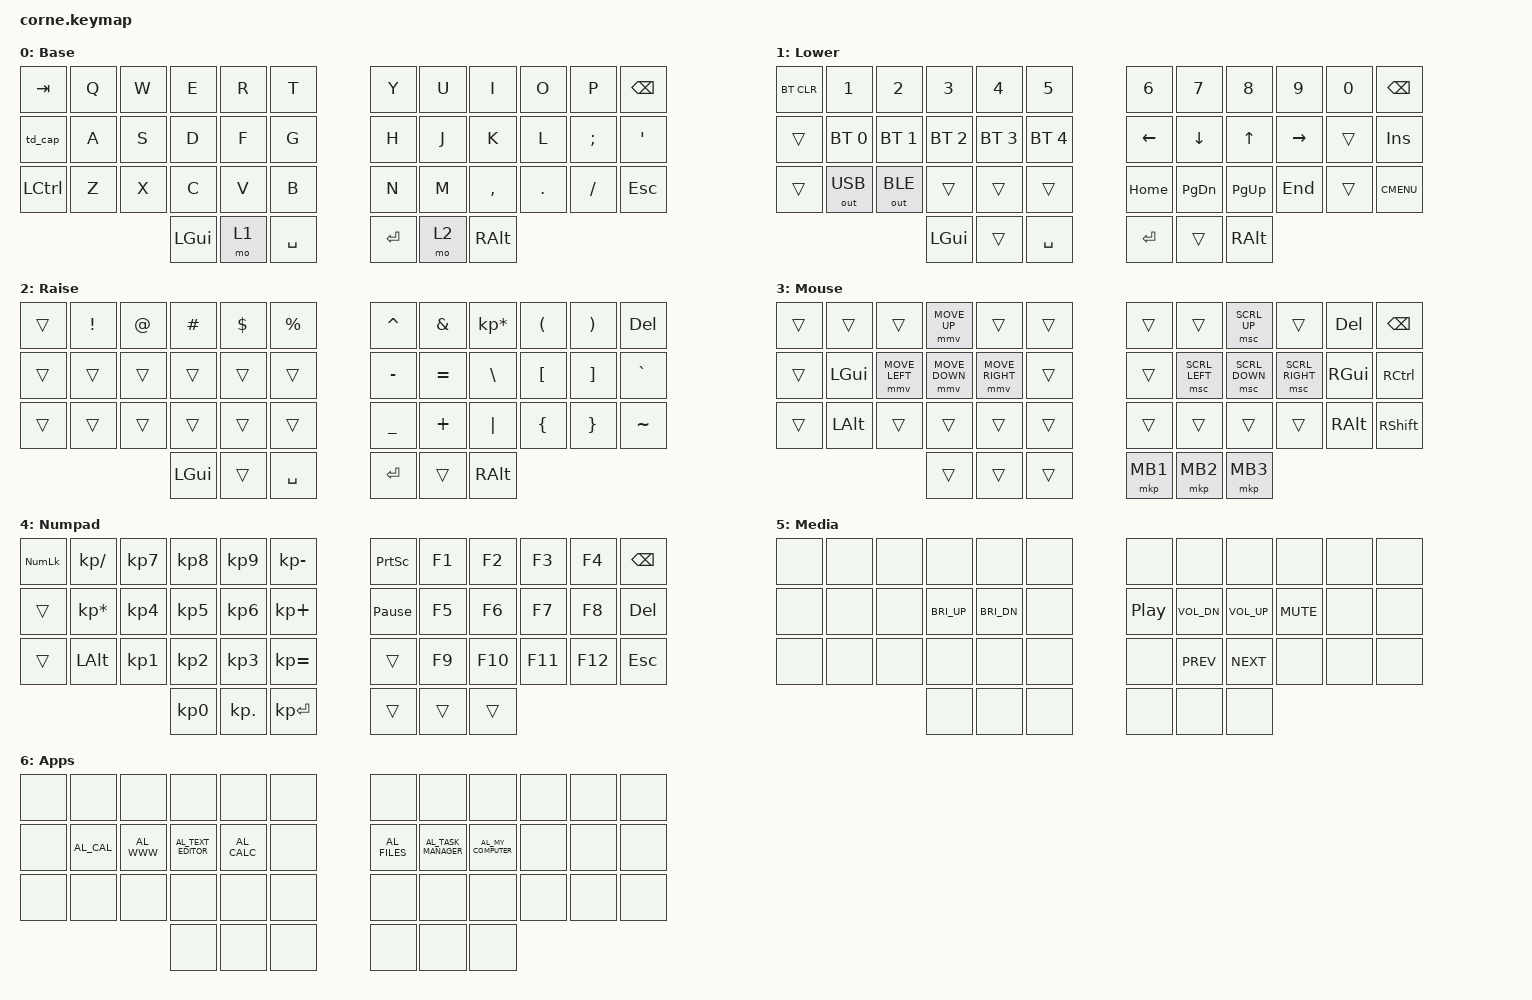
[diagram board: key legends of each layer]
/*
 * Copyright (c) 2020 The ZMK Contributors
 *
 * SPDX-License-Identifier: MIT
 */

#define ZMK_POINTING_DEFAULT_MOVE_VAL 1200
#define ZMK_POINTING_DEFAULT_SCRL_VAL 15

#include <behaviors.dtsi>
#include <dt-bindings/zmk/keys.h>
#include <dt-bindings/zmk/bt.h>
#include <dt-bindings/zmk/pointing.h>
#include <dt-bindings/zmk/outputs.h>

/ {
    
    behaviors {
        td_cap: tap_dance_caps {
            compatible = "zmk,behavior-tap-dance";
            #binding-cells = <0>;
            tapping-term-ms = <200>;
            bindings = <&kp LSHFT>, <&caps_word>, <&kp CAPS>;
        };
    };

    combos {
        compatible = "zmk,combos";

        combo_mouse_layer {
            timeout-ms = <50>;
            key-positions = <36 37>;
            bindings = <&mo 3>;
            slow-release;
        };

        combo_numpad_layer {
            timeout-ms = <50>;
            key-positions = <40 41>;
            bindings = <&mo 4>;
            slow-release;
        };

        combo_media_layer {
            timeout-ms = <50>;
            key-positions = <37 40>;
            bindings = <&mo 5>;
            slow-release;
        };

        combo_apps_layer {
            timeout-ms = <50>;
            key-positions = <36 37 40 41>;
            bindings = <&sl 6>;
        };
    };

    keymap {
        compatible = "zmk,keymap";

        default_layer {
// -----------------------------------------------------------------------------------------
// |  TAB |  Q  |  W  |  E  |  R  |  T  |   |  Y  |  U   |  I  |  O  |  P  | BKSP |
// | CTRL |  A  |  S  |  D  |  F  |  G  |   |  H  |  J   |  K  |  L  |  ;  |  '   |
// | SHFT |  Z  |  X  |  C  |  V  |  B  |   |  N  |  M   |  ,  |  .  |  /  | ESC  |
//                    | GUI | LWR | SPC |   | ENT | RSE  | ALT |
            display-name = "Base";
            bindings = <
    &kp TAB   &kp Q &kp W &kp E    &kp R &kp T     &kp Y   &kp U &kp I     &kp O   &kp P    &kp BSPC
    &td_cap   &kp A &kp S &kp D    &kp F &kp G     &kp H   &kp J &kp K     &kp L   &kp SEMI &kp SQT
    &kp LCTRL &kp Z &kp X &kp C    &kp V &kp B     &kp N   &kp M &kp COMMA &kp DOT &kp FSLH &kp ESC
                          &kp LGUI &mo 1 &kp SPACE &kp RET &mo 2 &kp RALT
            >;
        };

        lower_layer {
// -----------------------------------------------------------------------------------------
// | BTCLR|  1  |  2  |  3  |  4  |  5  |   |  6  |  7  |  8  |  9  |  0  | BKSP |
// |      | BT1 | BT2 | BT3 | BT4 | BT5 |   | LFT | DWN |  UP | RGT |     |      |
// |      | USB | BLE |     |     |     |   | HME | PDN | PUP | END |     |      |
//                    | GUI |     | SPC |   | ENT |     | ALT |
            display-name = "Lower";
            bindings = <
    &bt BT_CLR &kp N1       &kp N2       &kp N3       &kp N4       &kp N5       &kp N6    &kp N7    &kp N8    &kp N9    &kp N0 &kp BSPC
    &trans     &bt BT_SEL 0 &bt BT_SEL 1 &bt BT_SEL 2 &bt BT_SEL 3 &bt BT_SEL 4 &kp LEFT  &kp DOWN  &kp UP    &kp RIGHT &trans &kp INS
    &trans     &out OUT_USB &out OUT_BLE &trans       &trans       &trans       &kp HOME  &kp PG_DN &kp PG_UP &kp END   &trans &kp K_CMENU
                        	             &kp LGUI     &trans       &kp SPACE    &kp RET   &trans    &kp RALT
            >;
        };

        raise_layer {
// -----------------------------------------------------------------------------------------
// |      |  !  |  @  |  #  |  $  |  %  |   |  ^  |  &  |  *  |  (  |  )  | DEL |
// |      |     |     |     |     |     |   |  -  |  =  |  \  |  [  |  ]  |  `  |
// |      |     |     |     |     |     |   |  _  |  +  | "|" |  {  |  }  |  ~  |
//                    | GUI |     | SPC |   | ENT |     | ALT |
            display-name = "Raise";
            bindings = <
    &trans &kp EXCL &kp AT &kp HASH &kp DLLR &kp PRCNT &kp CARET &kp AMPS  &kp KP_MULTIPLY &kp LPAR &kp RPAR &kp DEL
    &trans &trans   &trans &trans   &trans   &trans    &kp MINUS &kp EQUAL &kp BSLH        &kp LBKT &kp RBKT &kp GRAVE
    &trans &trans   &trans &trans   &trans   &trans    &kp UNDER &kp PLUS  &kp PIPE        &kp LBRC &kp RBRC &kp TILDE
                    	   &kp LGUI &trans   &kp SPACE &kp RET   &trans    &kp RALT
            >;
        };

        mouse_layer {
// -----------------------------------------------------------------------------------------
// |      |     |     | MUP |     |     |   |     |     | SUP |     | DEL  | BKSP |
// |      | GUI | MLT | MDN | MRT |     |   |     | SLT | SDN | SRT | CTRL | GUI  |
// |      | ALT |     |     |     |     |   |     |     |     |     | SHFT | ALT  |
//                    |     |     |     |   | MB1 | MB2 | MB3 |
            display-name = "Mouse";
            bindings = <
    &trans &trans   &trans         &mmv MOVE_UP   &trans          &trans &trans   &trans         &msc SCRL_UP   &trans          &kp DEL  &kp BKSP
    &trans &kp LGUI &mmv MOVE_LEFT &mmv MOVE_DOWN &mmv MOVE_RIGHT &trans &trans   &msc SCRL_LEFT &msc SCRL_DOWN &msc SCRL_RIGHT &kp RGUI &kp RCTRL
    &trans &kp LALT &trans         &trans         &trans          &trans &trans   &trans         &trans         &trans          &kp RALT &kp RSHFT
                    	           &trans         &trans          &trans &mkp MB1 &mkp MB2       &mkp MB3
            >;
        };

        numpad_layer {
// -----------------------------------------------------------------------------------------
// | NLCK |  /  |  7  |  8  |  9  |  -  |   | PSN | F1 | F2  | F3  | F4  | BKSP |
// |      |  *  |  4  |  5  |  6  |  +  |   | P/B | F5 | F6  | F7  | F8  | DEL  |
// |      | ALT |  1  |  2  |  3  |  =  |   |     | F9 | F10 | F11 | F12 | ESC  |
//                    |  0  |  .  | ETR |   |     |    |     |
            display-name = "Numpad";
            bindings = <
    &kp KP_NLCK &kp KP_DIVIDE   &kp KP_N7 &kp KP_N8 &kp KP_N9  &kp KP_MINUS &kp PSCRN       &kp F1 &kp F2  &kp F3  &kp F4  &kp BKSP
    &trans      &kp KP_MULTIPLY &kp KP_N4 &kp KP_N5 &kp KP_N6  &kp KP_PLUS  &kp PAUSE_BREAK &kp F5 &kp F6  &kp F7  &kp F8  &kp DEL
    &trans      &kp LALT        &kp KP_N1 &kp KP_N2 &kp KP_N3  &kp KP_EQUAL &trans          &kp F9 &kp F10 &kp F11 &kp F12 &kp ESC
                    	                  &kp KP_N0 &kp KP_DOT &kp KP_ENTER &trans          &trans &trans
            >;
        };

        media_layer {
// -----------------------------------------------------------------------------------------
// |     |     |     |     |     |     |   |     |     |     |     |     |     |
// |     |     |     | BUP | BDN |     |   | PP  | VDN | VUP | MUT |     |     |
// |     |     |     |     |     |     |   |     | PRV | NXT |     |     |     |
//                   |     |     |     |   |     |     |     |
            display-name = "Media";
            bindings = <
    &none &none &none &none        &none        &none &none      &none        &none        &none      &none &none
    &none &none &none &kp C_BRI_UP &kp C_BRI_DN &none &kp C_PP   &kp C_VOL_DN &kp C_VOL_UP &kp C_MUTE &none &none
    &none &none &none &none        &none        &none &none      &kp C_PREV   &kp C_NEXT   &none      &none &none
                      &none        &none        &none &none      &none        &none
            >;
        };

        apps_layer {
// -----------------------------------------------------------------------------------------
// |     |     |     |     |     |     |   |     |     |     |     |     |     |
// |     |     |     |     |     |     |   |     |     |     |     |     |     |
// |     |     |     |     |     |     |   |     |     |     |     |     |     |
//                   |     |     |     |   |     |     |     |
            display-name = "Apps";
            bindings = <
    &none &none        &none        &none                &none         &none &none          &none              &none                &none &none &none
    &none &kp C_AL_CAL &kp C_AL_WWW &kp C_AL_TEXT_EDITOR &kp C_AL_CALC &none &kp C_AL_FILES &kp C_AL_TASK_MANAGER &kp C_AL_MY_COMPUTER &none &none &none
    &none &none        &none        &none                &none         &none &none          &none              &none                &none &none &none
                                    &none                &none         &none &none          &none              &none
            >;
        };
    };
};
